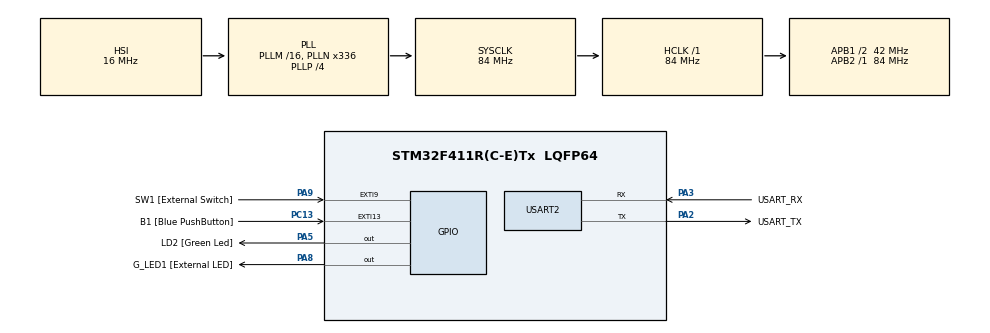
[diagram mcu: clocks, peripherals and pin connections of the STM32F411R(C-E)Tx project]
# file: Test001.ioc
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Mcu.Family=STM32F4
Mcu.Name=STM32F411R(C-E)Tx
Mcu.Package=LQFP64
NVIC.EXTI15_10_IRQn=true\:0\:0\:false\:false\:true\:true\:true\:true
NVIC.EXTI9_5_IRQn=true\:0\:0\:false\:false\:true\:true\:true\:true
NVIC.PriorityGroup=NVIC_PRIORITYGROUP_0
PA13.GPIO_Label=TMS
PA13.Mode=Serial_Wire
PA13.Signal=SYS_JTMS-SWDIO
PA14.GPIO_Label=TCK
PA14.Mode=Serial_Wire
PA14.Signal=SYS_JTCK-SWCLK
PA2.GPIO_Label=USART_TX
PA2.Mode=Asynchronous
PA2.Signal=USART2_TX
PA3.GPIO_Label=USART_RX
PA3.Mode=Asynchronous
PA3.Signal=USART2_RX
PA5.GPIO_Label=LD2 [Green Led]
PA5.Signal=GPIO_Output
PA8.GPIO_Label=G_LED1 [External LED]
PA8.Signal=GPIO_Output
PA9.GPIO_Label=SW1 [External Switch]
PA9.GPIO_ModeDefaultEXTI=GPIO_MODE_IT_FALLING
PA9.Signal=GPXTI9
PB3.GPIO_Label=SWO
PB3.Signal=SYS_JTDO-SWO
PC13-ANTI_TAMP.GPIO_Label=B1 [Blue PushButton]
PC13-ANTI_TAMP.GPIO_ModeDefaultEXTI=GPIO_MODE_IT_FALLING
PC13-ANTI_TAMP.Signal=GPXTI13
PC14-OSC32_IN.Mode=LSE-External-Oscillator
PC14-OSC32_IN.Signal=RCC_OSC32_IN
PC15-OSC32_OUT.Mode=LSE-External-Oscillator
PC15-OSC32_OUT.Signal=RCC_OSC32_OUT
PH0\ -\ OSC_IN.Mode=HSE-External-Clock-Source
PH0\ -\ OSC_IN.Signal=RCC_OSC_IN
PH1\ -\ OSC_OUT.Mode=HSE-External-Clock-Source
PH1\ -\ OSC_OUT.Signal=RCC_OSC_OUT
ProjectManager.HeapSize=0x200
ProjectManager.StackSize=0x400
ProjectManager.TargetToolchain=STM32CubeIDE
RCC.48MHZClocksFreq_Value=84000000
RCC.AHBFreq_Value=84000000
RCC.APB1CLKDivider=RCC_HCLK_DIV2
RCC.APB1Freq_Value=42000000
RCC.APB1TimFreq_Value=84000000
RCC.APB2Freq_Value=84000000
RCC.APB2TimFreq_Value=84000000
RCC.CortexFreq_Value=84000000
RCC.FLatency-AdvancedSettings=FLASH_LATENCY_2
RCC.HCLKFreq_Value=84000000
RCC.HSE_VALUE=8000000
RCC.HSI_VALUE=16000000
RCC.PLLN=336
RCC.PLLP=RCC_PLLP_DIV4
RCC.SYSCLKFreq_VALUE=84000000
RCC.SYSCLKSource=RCC_SYSCLKSOURCE_PLLCLK
RCC.VCOOutputFreq_Value=336000000
USART2.VirtualMode=VM_ASYNC
board=NUCLEO-F411RE

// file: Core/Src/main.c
/* USER CODE BEGIN Header */
/**
  ******************************************************************************
  * @file           : main.c
  * @brief          : Main program body
  ******************************************************************************
  * @attention
  *
  * Copyright (c) 2024 STMicroelectronics.
  * All rights reserved.
  *
  * This software is licensed under terms that can be found in the LICENSE file
  * in the root directory of this software component.
  * If no LICENSE file comes with this software, it is provided AS-IS.
  *
  ******************************************************************************
  */
/* USER CODE END Header */
#include "main.h"

/* USER CODE BEGIN Includes */
#include <stdio.h>
/* USER CODE END Includes */

UART_HandleTypeDef huart2;

void SystemClock_Config(void);
static void MX_GPIO_Init(void);
static void MX_USART2_UART_Init(void);

/* USER CODE BEGIN 0 */
volatile int mode = 0, flash_speed = 1000;
void StandBy() {
	while(HAL_GPIO_ReadPin(B1_GPIO_Port, B1_Pin)) {}
}
void HAL_GPIO_EXTI_Callback(uint16_t GPIO_Pin) // External Interrupt ISR
{
	switch(GPIO_Pin) {
		case B1_Pin:
			mode = mode ? 0 : 1;
			break;
		case SW1_Pin:
			flash_speed = (flash_speed >= 100) ? (flash_speed - 200) : 1000;
			break;
	}
}
/* USER CODE END 0 */

int main(void)
{

  /* MCU Configuration--------------------------------------------------------*/

  /* Reset of all peripherals, Initializes the Flash interface and the Systick. */
  HAL_Init();

  /* Configure the system clock */
  SystemClock_Config();

  /* Initialize all configured peripherals */
  MX_GPIO_Init();
  MX_USART2_UART_Init();
  /* USER CODE BEGIN 2 */
  StandBy();
  /* USER CODE END 2 */

  /* Infinite loop */
  /* USER CODE BEGIN WHILE */
  while (1)
  {
	  HAL_GPIO_WritePin(G_LED1_GPIO_Port, G_LED1_Pin, GPIO_PIN_SET);
	  HAL_Delay(flash_speed); // mili_second
	  HAL_GPIO_WritePin(G_LED1_GPIO_Port, G_LED1_Pin, GPIO_PIN_RESET);
	  HAL_Delay(flash_speed); // mili_second

	  if(mode) {
		  HAL_GPIO_WritePin(LD2_GPIO_Port, LD2_Pin, GPIO_PIN_SET);
		  // HAL_GPIO_WritePin(GPIOA, GPIO_PIN_5, GPIO_PIN_SET);
		  HAL_Delay(500); // mili_second
		  HAL_GPIO_WritePin(LD2_GPIO_Port, LD2_Pin, GPIO_PIN_RESET);
		  HAL_Delay(500); // mili_second
	  }
    /* USER CODE END WHILE */

  }
}

void SystemClock_Config(void)
{
  RCC_OscInitTypeDef RCC_OscInitStruct = {0};
  RCC_ClkInitTypeDef RCC_ClkInitStruct = {0};

  /** Configure the main internal regulator output voltage
  */
  __HAL_RCC_PWR_CLK_ENABLE();
  __HAL_PWR_VOLTAGESCALING_CONFIG(PWR_REGULATOR_VOLTAGE_SCALE1);

  /** Initializes the RCC Oscillators according to the specified parameters
  * in the RCC_OscInitTypeDef structure.
  */
  RCC_OscInitStruct.OscillatorType = RCC_OSCILLATORTYPE_HSI;
  RCC_OscInitStruct.HSIState = RCC_HSI_ON;
  RCC_OscInitStruct.HSICalibrationValue = RCC_HSICALIBRATION_DEFAULT;
  RCC_OscInitStruct.PLL.PLLState = RCC_PLL_ON;
  RCC_OscInitStruct.PLL.PLLSource = RCC_PLLSOURCE_HSI;
  RCC_OscInitStruct.PLL.PLLM = 16;
  RCC_OscInitStruct.PLL.PLLN = 336;
  RCC_OscInitStruct.PLL.PLLP = RCC_PLLP_DIV4;
  RCC_OscInitStruct.PLL.PLLQ = 4;
  if (HAL_RCC_OscConfig(&RCC_OscInitStruct) != HAL_OK)
  {
    Error_Handler();
  }

  /** Initializes the CPU, AHB and APB buses clocks
  */
  RCC_ClkInitStruct.ClockType = RCC_CLOCKTYPE_HCLK|RCC_CLOCKTYPE_SYSCLK
                              |RCC_CLOCKTYPE_PCLK1|RCC_CLOCKTYPE_PCLK2;
  RCC_ClkInitStruct.SYSCLKSource = RCC_SYSCLKSOURCE_PLLCLK;
  RCC_ClkInitStruct.AHBCLKDivider = RCC_SYSCLK_DIV1;
  RCC_ClkInitStruct.APB1CLKDivider = RCC_HCLK_DIV2;
  RCC_ClkInitStruct.APB2CLKDivider = RCC_HCLK_DIV1;

  if (HAL_RCC_ClockConfig(&RCC_ClkInitStruct, FLASH_LATENCY_2) != HAL_OK)
  {
    Error_Handler();
  }
}

static void MX_USART2_UART_Init(void)
{

  huart2.Instance = USART2;
  huart2.Init.BaudRate = 115200;
  huart2.Init.WordLength = UART_WORDLENGTH_8B;
  huart2.Init.StopBits = UART_STOPBITS_1;
  huart2.Init.Parity = UART_PARITY_NONE;
  huart2.Init.Mode = UART_MODE_TX_RX;
  huart2.Init.HwFlowCtl = UART_HWCONTROL_NONE;
  huart2.Init.OverSampling = UART_OVERSAMPLING_16;
  if (HAL_UART_Init(&huart2) != HAL_OK)
  {
    Error_Handler();
  }

}

static void MX_GPIO_Init(void)
{
  GPIO_InitTypeDef GPIO_InitStruct = {0};

  /* GPIO Ports Clock Enable */
  __HAL_RCC_GPIOC_CLK_ENABLE();
  __HAL_RCC_GPIOH_CLK_ENABLE();
  __HAL_RCC_GPIOA_CLK_ENABLE();
  __HAL_RCC_GPIOB_CLK_ENABLE();

  /*Configure GPIO pin Output Level */
  HAL_GPIO_WritePin(GPIOA, LD2_Pin|G_LED1_Pin, GPIO_PIN_RESET);

  /*Configure GPIO pin : B1_Pin */
  GPIO_InitStruct.Pin = B1_Pin;
  GPIO_InitStruct.Mode = GPIO_MODE_IT_FALLING;
  GPIO_InitStruct.Pull = GPIO_NOPULL;
  HAL_GPIO_Init(B1_GPIO_Port, &GPIO_InitStruct);

  /*Configure GPIO pins : LD2_Pin G_LED1_Pin */
  GPIO_InitStruct.Pin = LD2_Pin|G_LED1_Pin;
  GPIO_InitStruct.Mode = GPIO_MODE_OUTPUT_PP;
  GPIO_InitStruct.Pull = GPIO_NOPULL;
  GPIO_InitStruct.Speed = GPIO_SPEED_FREQ_LOW;
  HAL_GPIO_Init(GPIOA, &GPIO_InitStruct);

  /*Configure GPIO pin : SW1_Pin */
  GPIO_InitStruct.Pin = SW1_Pin;
  GPIO_InitStruct.Mode = GPIO_MODE_IT_FALLING;
  GPIO_InitStruct.Pull = GPIO_NOPULL;
  HAL_GPIO_Init(SW1_GPIO_Port, &GPIO_InitStruct);

  /* EXTI interrupt init*/
  HAL_NVIC_SetPriority(EXTI9_5_IRQn, 0, 0);
  HAL_NVIC_EnableIRQ(EXTI9_5_IRQn);

  HAL_NVIC_SetPriority(EXTI15_10_IRQn, 0, 0);
  HAL_NVIC_EnableIRQ(EXTI15_10_IRQn);

}

void Error_Handler(void)
{
  __disable_irq();
  while (1)
  {
  }
}
